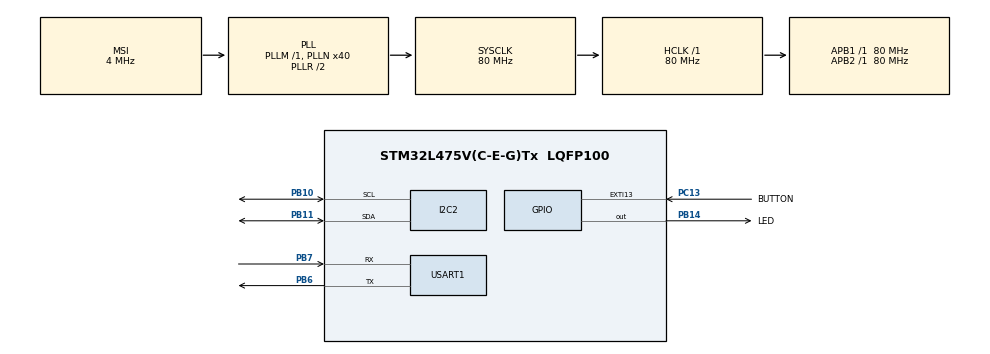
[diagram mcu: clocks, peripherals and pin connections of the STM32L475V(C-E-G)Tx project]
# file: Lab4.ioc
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FREERTOS.Tasks01=defaultTask,0,128,StartDefaultTask,Default,NULL,Dynamic,NULL,NULL
I2C2.Timing=0x10D19CE4
Mcu.Family=STM32L4
Mcu.Name=STM32L475V(C-E-G)Tx
Mcu.Package=LQFP100
NVIC.EXTI15_10_IRQn=true\:5\:0\:false\:false\:true\:true\:true\:true\:true
NVIC.PriorityGroup=NVIC_PRIORITYGROUP_4
NVIC.TIM6_DAC_IRQn=true\:15\:0\:false\:false\:true\:false\:false\:true\:true
NVIC.TimeBase=TIM6_DAC_IRQn
NVIC.TimeBaseIP=TIM6
PB10.Mode=I2C
PB10.Signal=I2C2_SCL
PB11.Mode=I2C
PB11.Signal=I2C2_SDA
PB14.GPIO_Label=LED
PB14.Signal=GPIO_Output
PB6.Mode=Asynchronous
PB6.Signal=USART1_TX
PB7.Mode=Asynchronous
PB7.Signal=USART1_RX
PC13.GPIO_Label=BUTTON
PC13.Signal=GPXTI13
ProjectManager.HeapSize=0x200
ProjectManager.StackSize=0x400
ProjectManager.TargetToolchain=STM32CubeIDE
RCC.ADCFreq_Value=48000000
RCC.AHBFreq_Value=80000000
RCC.APB1Freq_Value=80000000
RCC.APB1TimFreq_Value=80000000
RCC.APB2Freq_Value=80000000
RCC.APB2TimFreq_Value=80000000
RCC.CortexFreq_Value=80000000
RCC.HCLKFreq_Value=80000000
RCC.HSE_VALUE=8000000
RCC.HSI_VALUE=16000000
RCC.LSE_VALUE=32768
RCC.MSI_VALUE=4000000
RCC.PLLN=40
RCC.PLLSAI1N=24
RCC.SYSCLKFreq_VALUE=80000000
RCC.SYSCLKSource=RCC_SYSCLKSOURCE_PLLCLK
RCC.USBFreq_Value=48000000
RCC.VCOOutputFreq_Value=160000000
USART1.VirtualMode-Asynchronous=VM_ASYNC
VP_FREERTOS_VS_CMSIS_V1.Mode=CMSIS_V1
VP_SYS_VS_tim6.Mode=TIM6
board=B-L475E-IOT01A1

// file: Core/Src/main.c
/* USER CODE BEGIN Header */
/**
  ******************************************************************************
  * @file           : main.c
  * @brief          : Main program body
  ******************************************************************************
  * @attention
  *
  * Copyright (c) 2023 STMicroelectronics.
  * All rights reserved.
  *
  * This software is licensed under terms that can be found in the LICENSE file
  * in the root directory of this software component.
  * If no LICENSE file comes with this software, it is provided AS-IS.
  *
  ******************************************************************************
  */
/* USER CODE END Header */
#include "main.h"
#include "cmsis_os.h"

/* USER CODE BEGIN Includes */

#include "stm32l4s5i_iot01.h"
#include "stm32l4s5i_iot01_gyro.h"
#include "stm32l4s5i_iot01_magneto.h"
#include "stm32l4s5i_iot01_psensor.h"
#include "stm32l4s5i_iot01_tsensor.h"

/* USER CODE END Includes */

I2C_HandleTypeDef hi2c2;

UART_HandleTypeDef huart1;

osThreadId defaultTaskHandle;

void SystemClock_Config(void);
static void MX_GPIO_Init(void);
static void MX_USART1_UART_Init(void);
static void MX_I2C2_Init(void);
void StartDefaultTask(void const * argument);

/* USER CODE BEGIN 0 */

 float temp;
 float pressure;
 int16_t  magneto[3];
 float  gyro[3];

 char buffer_temp[69];
 char buffer_pressure[69];
 char buffer_magneto[69];
 char buffer_gyro[69];
 //char buffer[550];
// uint8_t status_g;

 int counter = 0;

 HAL_StatusTypeDef status;

/* USER CODE END 0 */

int main(void)
{

  /* MCU Configuration--------------------------------------------------------*/

  /* Reset of all peripherals, Initializes the Flash interface and the Systick. */
  HAL_Init();

  /* Configure the system clock */
  SystemClock_Config();

  /* Initialize all configured peripherals */
  MX_GPIO_Init();
  MX_USART1_UART_Init();
  MX_I2C2_Init();
  /* USER CODE BEGIN 2 */
  HAL_UART_Init(&huart1);

  BSP_GYRO_Init();
  BSP_MAGNETO_Init();
  BSP_TSENSOR_Init();
  BSP_PSENSOR_Init();

  /* USER CODE END 2 */

  /* Create the thread(s) */
  /* definition and creation of defaultTask */
  osThreadDef(defaultTask, StartDefaultTask, osPriorityNormal, 0, 128);
  defaultTaskHandle = osThreadCreate(osThread(defaultTask), NULL);

  /* Start scheduler */
  osKernelStart();

  /* We should never get here as control is now taken by the scheduler */

  /* Infinite loop */
  /* USER CODE BEGIN WHILE */
//  uint32_t lastTick = 0; // Store the last tick count
//  uint32_t currentTick = 0; // Store the current tick count

  while (1)
  {
    /* USER CODE END WHILE */

    /* USER CODE BEGIN 3 */
//    currentTick = HAL_GetTick();
//
//    if((currentTick - lastTick) >= 100){ // Check if 100ms have passed
//      // Sensor readings
//        BSP_MAGNETO_GetXYZ(magneto);
//        pressure = BSP_PSENSOR_ReadPressure();
//        temp = BSP_TSENSOR_ReadTemp();
//        BSP_GYRO_GetXYZ(gyro);
//        sprintf(buffer_temp, "Temp: %u", temp);
//        sprintf(buffer_pressure, "Pressure: %u", pressure);
//        sprintf(buffer_magneto, "Magneto X:%d Y:%d Z:%d", magneto[0], magneto[1], magneto[2]);
//        sprintf(buffer_gyro, "Gyro X:%.2f Y:%.2f Z:%.2f", gyro[0], gyro[1], gyro[2]);
//        snprintf(buffer, sizeof(buffer), "%s %s %s %s\n", buffer_temp, buffer_pressure, buffer_magneto, buffer_gyro);
//        status = HAL_UART_Transmit(&huart1, (uint8_t *)buffer, sizeof(buffer), 1000);
//
//
//      lastTick = currentTick; // Update the last tick count
//
//   }

    //HAL_Delay(1);
  }
  /* USER CODE END 3 */
}

void SystemClock_Config(void)
{
  RCC_OscInitTypeDef RCC_OscInitStruct = {0};
  RCC_ClkInitTypeDef RCC_ClkInitStruct = {0};

  /** Configure the main internal regulator output voltage
  */
  if (HAL_PWREx_ControlVoltageScaling(PWR_REGULATOR_VOLTAGE_SCALE1) != HAL_OK)
  {
    Error_Handler();
  }

  /** Initializes the RCC Oscillators according to the specified parameters
  * in the RCC_OscInitTypeDef structure.
  */
  RCC_OscInitStruct.OscillatorType = RCC_OSCILLATORTYPE_MSI;
  RCC_OscInitStruct.MSIState = RCC_MSI_ON;
  RCC_OscInitStruct.MSICalibrationValue = 0;
  RCC_OscInitStruct.MSIClockRange = RCC_MSIRANGE_6;
  RCC_OscInitStruct.PLL.PLLState = RCC_PLL_ON;
  RCC_OscInitStruct.PLL.PLLSource = RCC_PLLSOURCE_MSI;
  RCC_OscInitStruct.PLL.PLLM = 1;
  RCC_OscInitStruct.PLL.PLLN = 40;
  RCC_OscInitStruct.PLL.PLLP = RCC_PLLP_DIV7;
  RCC_OscInitStruct.PLL.PLLQ = RCC_PLLQ_DIV2;
  RCC_OscInitStruct.PLL.PLLR = RCC_PLLR_DIV2;
  if (HAL_RCC_OscConfig(&RCC_OscInitStruct) != HAL_OK)
  {
    Error_Handler();
  }

  /** Initializes the CPU, AHB and APB buses clocks
  */
  RCC_ClkInitStruct.ClockType = RCC_CLOCKTYPE_HCLK|RCC_CLOCKTYPE_SYSCLK
                              |RCC_CLOCKTYPE_PCLK1|RCC_CLOCKTYPE_PCLK2;
  RCC_ClkInitStruct.SYSCLKSource = RCC_SYSCLKSOURCE_PLLCLK;
  RCC_ClkInitStruct.AHBCLKDivider = RCC_SYSCLK_DIV1;
  RCC_ClkInitStruct.APB1CLKDivider = RCC_HCLK_DIV1;
  RCC_ClkInitStruct.APB2CLKDivider = RCC_HCLK_DIV1;

  if (HAL_RCC_ClockConfig(&RCC_ClkInitStruct, FLASH_LATENCY_4) != HAL_OK)
  {
    Error_Handler();
  }
}

static void MX_I2C2_Init(void)
{

  hi2c2.Instance = I2C2;
  hi2c2.Init.Timing = 0x10D19CE4;
  hi2c2.Init.OwnAddress1 = 0;
  hi2c2.Init.AddressingMode = I2C_ADDRESSINGMODE_7BIT;
  hi2c2.Init.DualAddressMode = I2C_DUALADDRESS_DISABLE;
  hi2c2.Init.OwnAddress2 = 0;
  hi2c2.Init.OwnAddress2Masks = I2C_OA2_NOMASK;
  hi2c2.Init.GeneralCallMode = I2C_GENERALCALL_DISABLE;
  hi2c2.Init.NoStretchMode = I2C_NOSTRETCH_DISABLE;
  if (HAL_I2C_Init(&hi2c2) != HAL_OK)
  {
    Error_Handler();
  }

  /** Configure Analogue filter
  */
  if (HAL_I2CEx_ConfigAnalogFilter(&hi2c2, I2C_ANALOGFILTER_ENABLE) != HAL_OK)
  {
    Error_Handler();
  }

  /** Configure Digital filter
  */
  if (HAL_I2CEx_ConfigDigitalFilter(&hi2c2, 0) != HAL_OK)
  {
    Error_Handler();
  }

}

static void MX_USART1_UART_Init(void)
{

  huart1.Instance = USART1;
  huart1.Init.BaudRate = 115200;
  huart1.Init.WordLength = UART_WORDLENGTH_8B;
  huart1.Init.StopBits = UART_STOPBITS_1;
  huart1.Init.Parity = UART_PARITY_NONE;
  huart1.Init.Mode = UART_MODE_TX_RX;
  huart1.Init.HwFlowCtl = UART_HWCONTROL_NONE;
  huart1.Init.OverSampling = UART_OVERSAMPLING_16;
  huart1.Init.OneBitSampling = UART_ONE_BIT_SAMPLE_DISABLE;
  huart1.AdvancedInit.AdvFeatureInit = UART_ADVFEATURE_NO_INIT;
  if (HAL_UART_Init(&huart1) != HAL_OK)
  {
    Error_Handler();
  }

}

static void MX_GPIO_Init(void)
{
  GPIO_InitTypeDef GPIO_InitStruct = {0};

  /* GPIO Ports Clock Enable */
  __HAL_RCC_GPIOC_CLK_ENABLE();
  __HAL_RCC_GPIOB_CLK_ENABLE();

  /*Configure GPIO pin Output Level */
  HAL_GPIO_WritePin(LED_GPIO_Port, LED_Pin, GPIO_PIN_RESET);

  /*Configure GPIO pin : BUTTON_Pin */
  GPIO_InitStruct.Pin = BUTTON_Pin;
  GPIO_InitStruct.Mode = GPIO_MODE_IT_RISING;
  GPIO_InitStruct.Pull = GPIO_NOPULL;
  HAL_GPIO_Init(BUTTON_GPIO_Port, &GPIO_InitStruct);

  /*Configure GPIO pin : LED_Pin */
  GPIO_InitStruct.Pin = LED_Pin;
  GPIO_InitStruct.Mode = GPIO_MODE_OUTPUT_PP;
  GPIO_InitStruct.Pull = GPIO_NOPULL;
  GPIO_InitStruct.Speed = GPIO_SPEED_FREQ_LOW;
  HAL_GPIO_Init(LED_GPIO_Port, &GPIO_InitStruct);

  /* EXTI interrupt init*/
  HAL_NVIC_SetPriority(EXTI15_10_IRQn, 5, 0);
  HAL_NVIC_EnableIRQ(EXTI15_10_IRQn);

}

/* USER CODE BEGIN 4 */

//void HAL_GPIO_EXTI_Callback(uint16_t GPIO_Pin) {
//	counter++;
//	if(counter==4) counter = 0;
//}

/* USER CODE END 4 */

void StartDefaultTask(void const * argument)
{
  for(;;)
  {
    osDelay(1);
  }
}

void HAL_TIM_PeriodElapsedCallback(TIM_HandleTypeDef *htim)
{
  if (htim->Instance == TIM6) {
    HAL_IncTick();
  }
}

void Error_Handler(void)
{
  __disable_irq();
  while (1)
  {
  }
}
